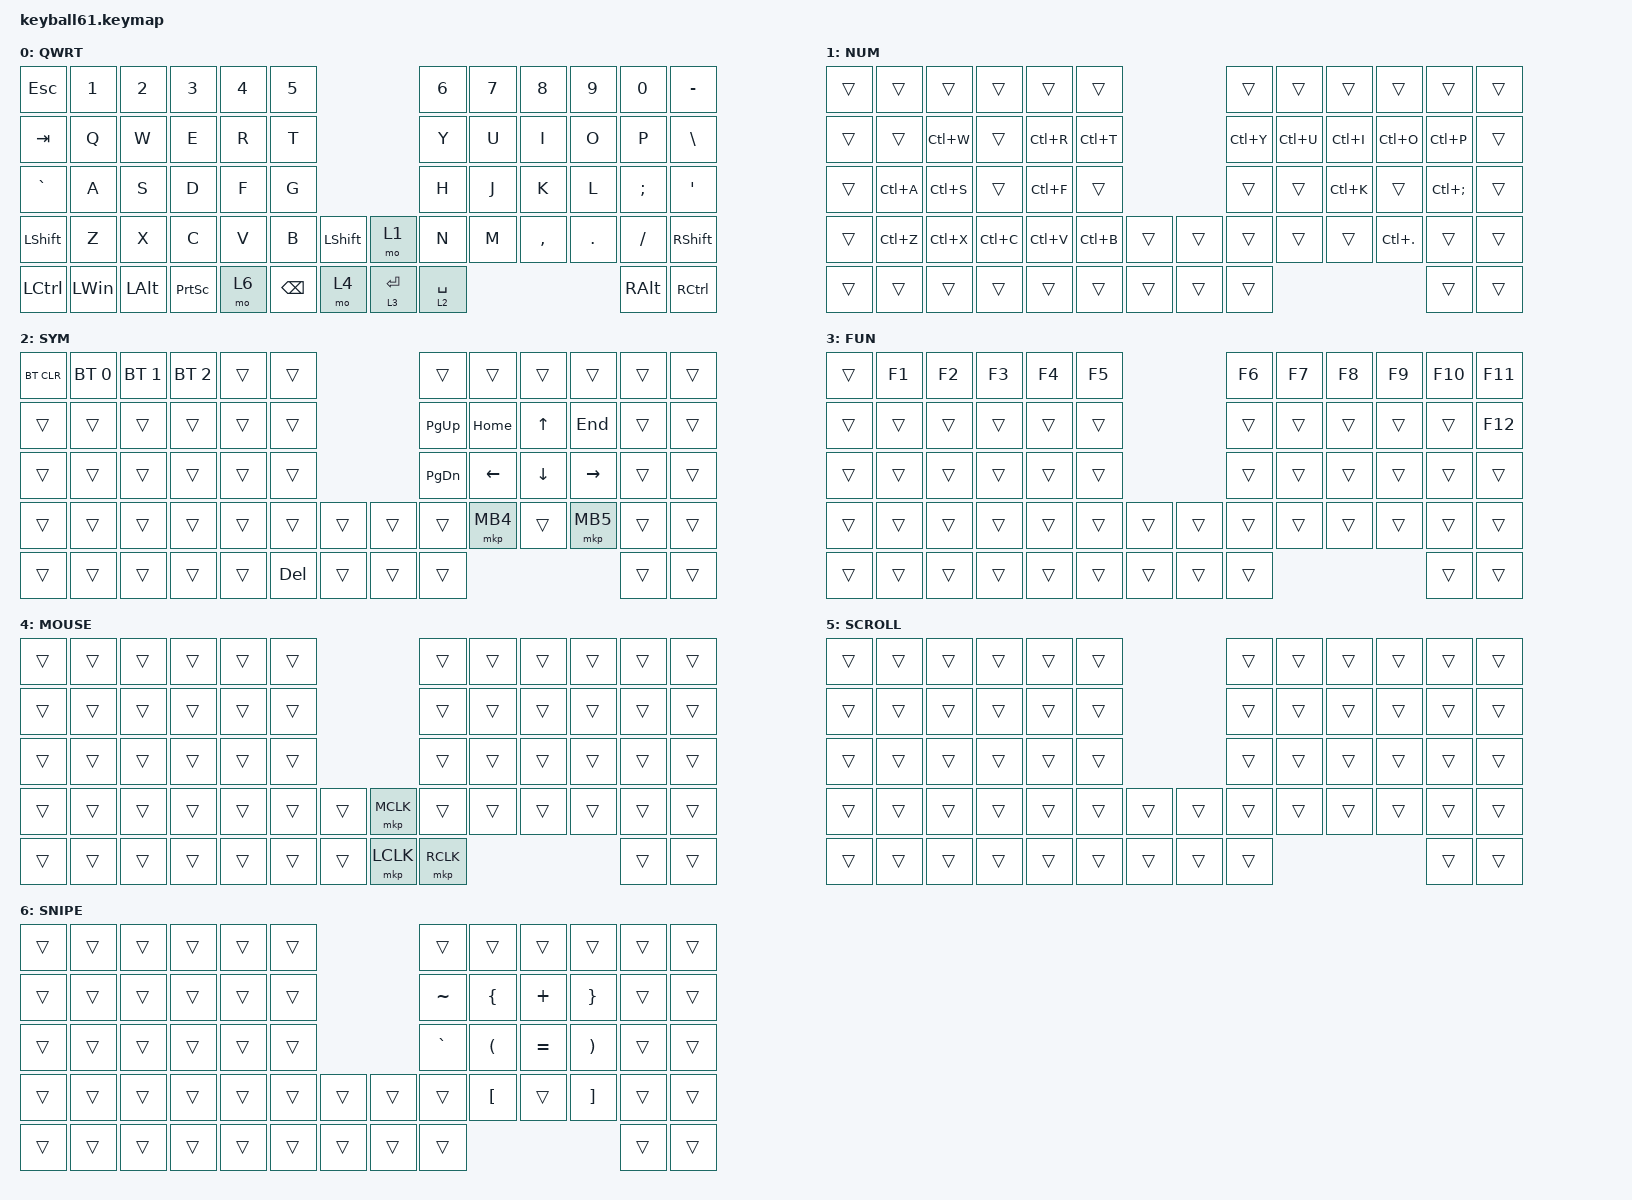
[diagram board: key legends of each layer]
#define DEFAULT 0
#define SYM     1
#define FUN     2
#define MOUSE   3
#define SCROLL  4
#define SNIPE   5

#include <behaviors/mouse_keys.dtsi>
#include <dt-bindings/zmk/mouse.h>
#include <behaviors.dtsi>
#include <dt-bindings/zmk/bt.h>
#include <dt-bindings/zmk/keys.h>
#include <dt-bindings/zmk/pointing.h>

&lt {
    tapping-term-ms = <240>;
    flavor = "balanced";
    quick-tap-ms = <150>;
};

&mt {
    tapping-term-ms = <200>;
    flavor = "tap-preferred";
    quick-tap-ms = <150>;
};

/ {
    keymap {
        compatible = "zmk,keymap";

        default_layer {
            label = "QWRT";
            bindings = <
&kp ESC         &kp N1    &kp N2        &kp N3           &kp N4  &kp N5                                 &kp N6       &kp N7  &kp N8     &kp N9   &kp N0         &kp MINUS
&kp TAB         &kp Q     &kp W         &kp E            &kp R   &kp T                                  &kp Y        &kp U   &kp I      &kp O    &kp P          &kp BACKSLASH
&kp GRAVE       &kp A     &kp S         &kp D            &kp F   &kp G                                  &kp H        &kp J   &kp K      &kp L    &kp SEMI       &kp SQT
&kp LEFT_SHIFT  &kp Z     &kp X         &kp C            &kp V   &kp B          &kp LSHFT  &mo 1        &kp N        &kp M   &kp COMMA  &kp DOT  &kp FSLH       &kp RIGHT_SHIFT
&kp LCTRL       &kp LWIN  &kp LEFT_ALT  &kp PRINTSCREEN  &mo 6   &kp BACKSPACE  &mo 4      &lt 3 ENTER  &lt 2 SPACE                              &kp RIGHT_ALT  &kp RCTRL
            >;
        };

        number_layer {
            bindings = <
&trans  &trans     &trans     &trans     &trans     &trans                     &trans     &trans     &trans     &trans          &trans             &trans
&trans  &trans     &kp LC(W)  &trans     &kp LC(R)  &kp LC(T)                  &kp LC(Y)  &kp LC(U)  &kp LC(I)  &kp LC(O)       &kp LC(P)          &trans
&trans  &kp LC(A)  &kp LC(S)  &trans     &kp LC(F)  &trans                     &trans     &trans     &kp LC(K)  &trans          &kp LC(SEMICOLON)  &trans
&trans  &kp LC(Z)  &kp LC(X)  &kp LC(C)  &kp LC(V)  &kp LC(B)  &trans  &trans  &trans     &trans     &trans     &kp LC(PERIOD)  &trans             &trans
&trans  &trans     &trans     &trans     &trans     &trans     &trans  &trans  &trans                                           &trans             &trans
            >;

            label = "NUM";
        };

        symbol_layer {
            label = "SYM";
            bindings = <
&bt BT_CLR  &bt BT_SEL 0  &bt BT_SEL 1  &bt BT_SEL 2  &trans  &trans                      &trans     &trans    &trans    &trans     &trans  &trans
&trans      &trans        &trans        &trans        &trans  &trans                      &kp PG_UP  &kp HOME  &kp UP    &kp END    &trans  &trans
&trans      &trans        &trans        &trans        &trans  &trans                      &kp PG_DN  &kp LEFT  &kp DOWN  &kp RIGHT  &trans  &trans
&trans      &trans        &trans        &trans        &trans  &trans      &trans  &trans  &trans     &mkp MB4  &trans    &mkp MB5   &trans  &trans
&trans      &trans        &trans        &trans        &trans  &kp DELETE  &trans  &trans  &trans                                    &trans  &trans
            >;
        };

        function_layer {
            label = "FUN";
            bindings = <
&trans  &kp F1  &kp F2  &kp F3  &kp F4  &kp F5                  &kp F6  &kp F7  &kp F8  &kp F9  &kp F10  &kp F11
&trans  &trans  &trans  &trans  &trans  &trans                  &trans  &trans  &trans  &trans  &trans   &kp F12
&trans  &trans  &trans  &trans  &trans  &trans                  &trans  &trans  &trans  &trans  &trans   &trans
&trans  &trans  &trans  &trans  &trans  &trans  &trans  &trans  &trans  &trans  &trans  &trans  &trans   &trans
&trans  &trans  &trans  &trans  &trans  &trans  &trans  &trans  &trans                          &trans   &trans
            >;
        };

        mouse_layer {
            label = "MOUSE";
            bindings = <
&trans  &trans  &trans  &trans  &trans  &trans                     &trans     &trans  &trans  &trans  &trans  &trans
&trans  &trans  &trans  &trans  &trans  &trans                     &trans     &trans  &trans  &trans  &trans  &trans
&trans  &trans  &trans  &trans  &trans  &trans                     &trans     &trans  &trans  &trans  &trans  &trans
&trans  &trans  &trans  &trans  &trans  &trans  &trans  &mkp MCLK  &trans     &trans  &trans  &trans  &trans  &trans
&trans  &trans  &trans  &trans  &trans  &trans  &trans  &mkp LCLK  &mkp RCLK                          &trans  &trans
            >;
        };

        scroll_layer {
            label = "SCROLL";
            bindings = <
&trans  &trans  &trans  &trans  &trans  &trans                  &trans  &trans  &trans  &trans  &trans  &trans
&trans  &trans  &trans  &trans  &trans  &trans                  &trans  &trans  &trans  &trans  &trans  &trans
&trans  &trans  &trans  &trans  &trans  &trans                  &trans  &trans  &trans  &trans  &trans  &trans
&trans  &trans  &trans  &trans  &trans  &trans  &trans  &trans  &trans  &trans  &trans  &trans  &trans  &trans
&trans  &trans  &trans  &trans  &trans  &trans  &trans  &trans  &trans                          &trans  &trans
            >;
        };

        snipe_layer {
            label = "SNIPE";
            bindings = <
&trans  &trans  &trans  &trans  &trans  &trans                  &trans     &trans                &trans     &trans                 &trans  &trans
&trans  &trans  &trans  &trans  &trans  &trans                  &kp TILDE  &kp LEFT_BRACE        &kp PLUS   &kp RIGHT_BRACE        &trans  &trans
&trans  &trans  &trans  &trans  &trans  &trans                  &kp GRAVE  &kp LEFT_PARENTHESIS  &kp EQUAL  &kp RIGHT_PARENTHESIS  &trans  &trans
&trans  &trans  &trans  &trans  &trans  &trans  &trans  &trans  &trans     &kp LEFT_BRACKET      &trans     &kp RIGHT_BRACKET      &trans  &trans
&trans  &trans  &trans  &trans  &trans  &trans  &trans  &trans  &trans                                                             &trans  &trans
            >;
        };
    };
};
